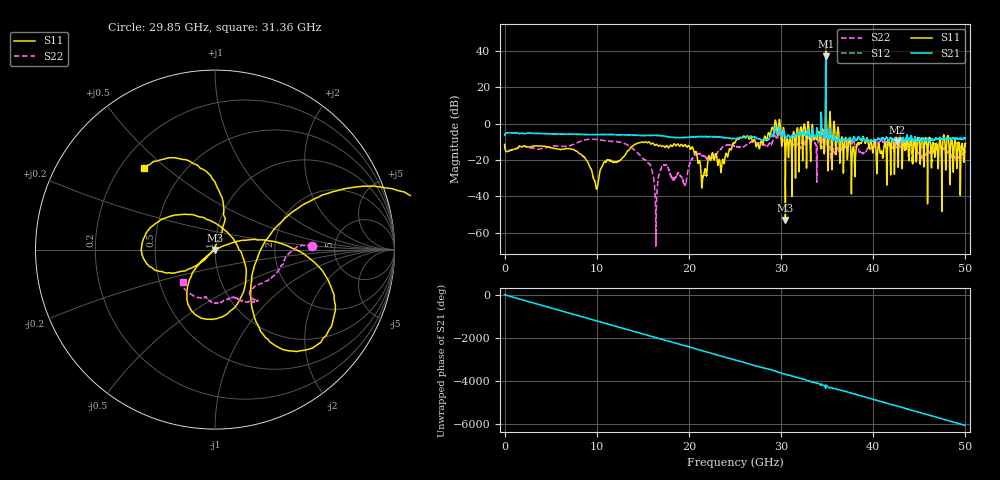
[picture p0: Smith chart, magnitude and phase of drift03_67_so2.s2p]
!Created with skrf (http://scikit-rf.org).
# Hz S RI R 50.0
!freq ReS11 ImS11 ReS21 ImS21 ReS12 ImS12 ReS22 ImS22
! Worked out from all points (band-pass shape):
!   10001 points, 300 kHz to 50 GHz, reference 50 ohm
!   highest |S21| = 36.83 dB at 34.85 GHz (marker M1); lowest = -10.4 dB at 42.55 GHz (marker M2)
!   |S21| within 3 dB of the highest: 34.84437 GHz to 34.84566 GHz (1.295 MHz wide, 0.00372 % of centre)
!   lowest |S11| = -52.8 dB at 30.47 GHz (marker M3), VSWR 1.00, Z = 50 - j0.228 ohm
!   |S11| at or under -10 dB: start of sweep to 15.23 GHz; 15.31 GHz to 25.05 GHz (9.74 GHz wide, 48.3 % of centre); 40.22 GHz to 41.61 GHz (1.392 GHz wide, 3.4 % of centre) (the widest 3 of 52)
!   |S22| runs from -67.3 to 28.0 dB; largest |S21 - S12| = 10
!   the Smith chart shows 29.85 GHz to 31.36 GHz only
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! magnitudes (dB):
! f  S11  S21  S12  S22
! 300 kHz  -11.4  -6.5  -6.5  -11.3
! 8.335 GHz  -17.1  -6.0  -6.0  -9.6
! 9.955 GHz  -35.5  -6.1  -6.1  -8.7
! 10.91 GHz  -21.0  -6.0  -6.1  -9.4
! 13.8 GHz  -12.6  -6.3  -6.3  -13.3
! 16.37 GHz  -11.9  -6.5  -6.5  -43.2
! 16.67 GHz  -12.4  -6.6  -6.5  -30.0
! 17.34 GHz  -12.8  -6.9  -6.9  -22.9
! 19.55 GHz  -11.6  -7.7  -7.7  -33.5
! 20.22 GHz  -13.9  -7.5  -7.5  -20.4
! 21.55 GHz  -28.7  -7.2  -7.2  -17.7
! 25 GHz  -10.6  -8.2  -8.2  -12.6
! 29.6 GHz  -5.5  -5.7  -5.9  -7.8
! 30.47 GHz  -52.8  -7.2  -7.1  -9.1
! 33.34 GHz  -3.9  -6.8  -6.7  -9.2
! 34.85 GHz  45.5  36.8  36.7  28.0
! 35.61 GHz  -8.1  -9.4  -9.3  -16.6
! 37.83 GHz  -12.8  -8.2  -8.3  -9.7
! 38.82 GHz  -8.3  -8.0  -8.1  -16.3
! 41.67 GHz  -9.1  -9.4  -9.4  -11.7
! 42.55 GHz  -8.3  -10.4  -10.4  -13.4
! 50 GHz  -10.8  -8.2  -8.2  -15.8
